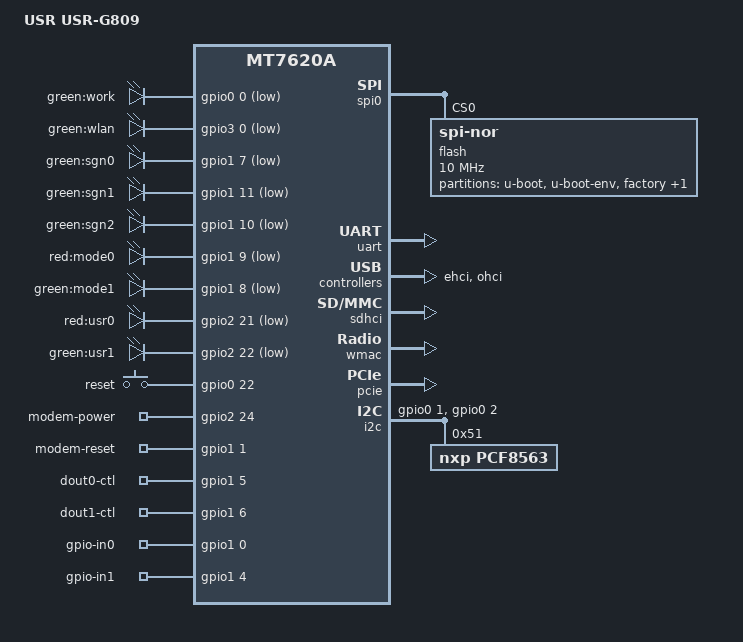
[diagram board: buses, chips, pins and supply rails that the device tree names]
#include "mt7620a.dtsi"

#include <dt-bindings/gpio/gpio.h>
#include <dt-bindings/input/input.h>

/ {
	compatible = "usr,usr-g809", "ralink,mt7620a-soc";
	model = "USR USR-G809";

	aliases {
		led-boot = &led_work;
		led-failsafe = &led_work;
		/*led-running = &led_work;*/
		led-upgrade = &led_work;
		label-mac-device = &ethernet;
	};

	chosen {
		bootargs = "console=ttyS1,57600";
	};

	leds {
		compatible = "gpio-leds";

		led_work: work {
			label = "green:work";
			gpios = <&gpio0 0 GPIO_ACTIVE_LOW>;
			linux,default-trigger ="heartbeat";
			default-state ="on";
		};

		led_wlan: wlan {
			label = "green:wlan";
			gpios = <&gpio3 0 GPIO_ACTIVE_LOW>;
			linux,default-trigger = "phy0tpt";
		};

		led_sgn0: sgn0 {
			label = "green:sgn0";
			gpios = <&gpio1 7 GPIO_ACTIVE_LOW>;
		};

		led_sgn1: sgn1 {
			label = "green:sgn1";
			gpios = <&gpio1 11 GPIO_ACTIVE_LOW>;
		};

		led_sgn2: sgn2 {
			label = "green:sgn2";
			gpios = <&gpio1 10 GPIO_ACTIVE_LOW>;
		};

		led_mode0: mode0 {
			label = "red:mode0";
			gpios = <&gpio1 9 GPIO_ACTIVE_LOW>;
		};

		led_mode1: mode1 {
			label = "green:mode1";
			gpios = <&gpio1 8 GPIO_ACTIVE_LOW>;
		};

		led_usr0: usr0 {
			label = "red:usr0";
			gpios = <&gpio2 21 GPIO_ACTIVE_LOW>;
		};

		led_usr1: usr1 {
			label = "green:usr1";
			gpios = <&gpio2 22 GPIO_ACTIVE_LOW>;
		};
	};

	keys {
		compatible = "gpio-keys";

		reset {
			label = "reset";
			gpios = <&gpio0 22 GPIO_ACTIVE_HIGH>;
			linux,code = <KEY_RESTART>;
		};
	};

	gpio_export {
		compatible = "gpio-export";
		#size-cells = <0>;
		modem-power {
			gpio-export,name="modem-power";
			gpio-export,output=<1>;
			gpios = <&gpio2 24 GPIO_ACTIVE_HIGH>;
		};

		modem-reset {
			gpio-export,name="modem-reset";
			gpio-export,output=<1>;
			gpios = <&gpio1 1 GPIO_ACTIVE_HIGH>;
		};

		dout0-ctl {
			gpio-export,name="dout0-ctl";
			gpio-export,output=<0>;
			gpios = <&gpio1 5 GPIO_ACTIVE_HIGH>;
		};

		dout1-ctl {
			gpio-export,name="dout1-ctl";
			gpio-export,output=<0>;
			gpios = <&gpio1 6 GPIO_ACTIVE_HIGH>;
		};

		gpio-in0 {
			gpio-export,name="gpio-in0";
			gpio-export,input=<0>;
			gpios = <&gpio1 0 GPIO_ACTIVE_HIGH>;
		};

		gpio-in1 {
			gpio-export,name="gpio-in1";
			gpio-export,input=<0>;
			gpios = <&gpio1 4 GPIO_ACTIVE_HIGH>;
		};
	};
};

&spi0 {
	status = "okay";

	flash@0 {
		compatible = "jedec,spi-nor";
		reg = <0>;
		spi-max-frequency = <10000000>;

		partitions {
			compatible = "fixed-partitions";
			#address-cells = <1>;
			#size-cells = <1>;

			partition@0 {
				label = "u-boot";
				reg = <0x0 0x30000>;
			};

			partition@30000 {
				label = "u-boot-env";
				reg = <0x30000 0x10000>;
				read-only;
			};

			factory: partition@40000 {
				label = "factory";
				reg = <0x40000 0x10000>;
				read-only;
			};

			partition@50000 {
				compatible = "denx,uimage";
				label = "firmware";
				reg = <0x50000 0x1fa00000>;
			};
		};
	};
};

&uart {
	status = "okay";
};

&gpio0 {
	status = "okay";
};

&gpio1 {
	status = "okay";
};

&gpio2 {
	status = "okay";
};

&gpio3 {
	status = "okay";
};

&ehci {
	status = "okay";
};

&ohci {
	status = "okay";
};

&sdhci {
	status = "okay";
};

&ethernet {
	pinctrl-names = "default";
	pinctrl-0 = <&ephy_pins>;

	mtd-mac-address = <&factory 0x28>;

	mediatek,portmap = "llllw";
};

&wmac {
	ralink,mtd-eeprom = <&factory 0x0>;
	pinctrl-names = "default";
	pinctrl-0 = <&pa_pins>;
};

&pcie {
	status = "okay";
};

&pcie0 {
	mt76@0,0 {
		reg = <0x0000 0 0 0 0>;
		mediatek,mtd-eeprom = <&factory 0x8000>;
		ieee80211-freq-limit = <5000000 6000000>;
	};
};

&i2c {
	gpios = <&gpio0 1 GPIO_ACTIVE_LOW
			&gpio0 2 GPIO_ACTIVE_LOW>;
	status = "okay";
	pcf8563@51 {
		compatible = "nxp,pcf8563";
		reg = <0x51>;
	};
};

&state_default {
	gpio {
		groups = "rgmii1", "rgmii2", "wled", "wdt";
		function = "gpio";
	};
	uartf_gpio {
        ralink,group = "uartf";
        ralink,function = "gpio uartf";
    };
};
